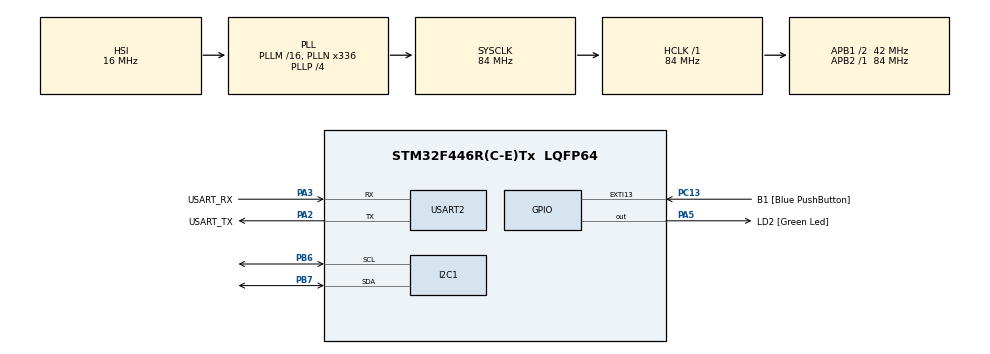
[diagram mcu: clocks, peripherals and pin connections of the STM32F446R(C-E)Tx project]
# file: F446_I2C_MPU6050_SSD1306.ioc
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I2C1.I2C_Mode=I2C_Fast
Mcu.Family=STM32F4
Mcu.Name=STM32F446R(C-E)Tx
Mcu.Package=LQFP64
NVIC.PriorityGroup=NVIC_PRIORITYGROUP_0
PA13.GPIO_Label=TMS
PA13.Mode=Serial_Wire
PA13.Signal=SYS_JTMS-SWDIO
PA14.GPIO_Label=TCK
PA14.Mode=Serial_Wire
PA14.Signal=SYS_JTCK-SWCLK
PA2.GPIO_Label=USART_TX
PA2.Mode=Asynchronous
PA2.Signal=USART2_TX
PA3.GPIO_Label=USART_RX
PA3.Mode=Asynchronous
PA3.Signal=USART2_RX
PA5.GPIO_Label=LD2 [Green Led]
PA5.Signal=GPIO_Output
PB3.GPIO_Label=SWO
PB3.Signal=SYS_JTDO-SWO
PB6.Mode=I2C
PB6.Signal=I2C1_SCL
PB7.Mode=I2C
PB7.Signal=I2C1_SDA
PC13.GPIO_Label=B1 [Blue PushButton]
PC13.GPIO_ModeDefaultEXTI=GPIO_MODE_IT_FALLING
PC13.Signal=GPXTI13
PC14-OSC32_IN.Mode=LSE-External-Oscillator
PC14-OSC32_IN.Signal=RCC_OSC32_IN
PC15-OSC32_OUT.Mode=LSE-External-Oscillator
PC15-OSC32_OUT.Signal=RCC_OSC32_OUT
PH0-OSC_IN.Mode=HSE-External-Oscillator
PH0-OSC_IN.Signal=RCC_OSC_IN
PH1-OSC_OUT.Mode=HSE-External-Oscillator
PH1-OSC_OUT.Signal=RCC_OSC_OUT
ProjectManager.HeapSize=0x200
ProjectManager.StackSize=0x400
ProjectManager.TargetToolchain=STM32CubeIDE
RCC.48MHZClocksFreq_Value=84000000
RCC.AHBFreq_Value=84000000
RCC.APB1CLKDivider=RCC_HCLK_DIV2
RCC.APB1Freq_Value=42000000
RCC.APB1TimFreq_Value=84000000
RCC.APB2Freq_Value=84000000
RCC.APB2TimFreq_Value=84000000
RCC.CortexFreq_Value=84000000
RCC.FLatency-AdvancedSettings=FLASH_LATENCY_2
RCC.HCLKFreq_Value=84000000
RCC.HSE_VALUE=8000000
RCC.HSI_VALUE=16000000
RCC.PLLN=336
RCC.PLLP=RCC_PLLP_DIV4
RCC.SYSCLKFreq_VALUE=84000000
RCC.SYSCLKSource=RCC_SYSCLKSOURCE_PLLCLK
RCC.USBFreq_Value=168000000
RCC.VCOOutputFreq_Value=336000000
USART2.VirtualMode=VM_ASYNC
board=NUCLEO-F446RE

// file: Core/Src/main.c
/* USER CODE BEGIN Header */
/**
  ******************************************************************************
  * @file           : main.c
  * @brief          : Main program body
  ******************************************************************************
  * @attention
  *
  * Copyright (c) 2025 STMicroelectronics.
  * All rights reserved.
  *
  * This software is licensed under terms that can be found in the LICENSE file
  * in the root directory of this software component.
  * If no LICENSE file comes with this software, it is provided AS-IS.
  *
  ******************************************************************************
  */
/* USER CODE END Header */
#include "main.h"

/* USER CODE BEGIN Includes */
#include "ssd1306.h"
/* USER CODE END Includes */

/* USER CODE BEGIN PD */
#define MPU6050_ADDR 0xD0
#define SMPLRT_DIV_REG 0x19
#define ACCEL_CONFIG_REG 0x1C
#define ACCEL_XOUT_H_REG 0x3B
#define TEMP_OUT_H_REG 0x41
#define PWR_MGMT_1_REG 0x6B
#define WHO_AM_I_REG 0x75
/* USER CODE END PD */

I2C_HandleTypeDef hi2c1;

UART_HandleTypeDef huart2;

/* USER CODE BEGIN PV */
int16_t Accel_X_RAW = 0;
int16_t Accel_Y_RAW = 0;
int16_t Accel_Z_RAW = 0;
float Ax, Ay, Az;
/* USER CODE END PV */

void SystemClock_Config(void);
static void MX_GPIO_Init(void);
static void MX_USART2_UART_Init(void);
static void MX_I2C1_Init(void);
/* USER CODE BEGIN PFP */
void MPU6050_Init (void);
void MPU6050_Read_Accel (void);
/* USER CODE END PFP */

int main(void)
{

  /* MCU Configuration--------------------------------------------------------*/

  /* Reset of all peripherals, Initializes the Flash interface and the Systick. */
  HAL_Init();

  /* Configure the system clock */
  SystemClock_Config();

  /* Initialize all configured peripherals */
  MX_GPIO_Init();
  MX_USART2_UART_Init();
  MX_I2C1_Init();
  /* USER CODE BEGIN 2 */
  //**************************** EXEMPLOS ************************************
   SSD1306_Init (); // Inicializa o display

   //Exemplo 1
   /*SSD1306_Clear();      //Seta todos os pixels do buffer para branco
   SSD1306_UpdateScreen();   //Flush do buffer para a tela*/

   //Exemplo 2
   // Abrir o WaveForms e hackear a última mensagem escrita pelo MASTER. Substituir os dados da PAG 7 de 0x00 para 0xFF
   /*
   var add = 0x3C;
   Write(add, 0x00, 0xB7);
   Write(add, 0x00, 0x00);
   Write(add, 0x00, 0x10);
   Write(add, 0x40, 0xFF, 0xFF, 0xFF, 0xFF, 0xFF, 0xFF, 0xFF, 0xFF, 0xFF, 0xFF, 0xFF, 0xFF, 0xFF, 0xFF, 0xFF, 0xFF, 0xFF, 0xFF, 0xFF, 0xFF, 0xFF, 0xFF, 0xFF, 0xFF, 0xFF, 0xFF, 0xFF, 0xFF, 0xFF, 0xFF, 0xFF, 0xFF, 0xFF, 0xFF, 0xFF, 0xFF, 0xFF, 0xFF, 0xFF, 0xFF, 0xFF, 0xFF, 0xFF, 0xFF, 0xFF, 0xFF, 0xFF, 0xFF, 0xFF, 0xFF, 0xFF, 0xFF, 0xFF, 0xFF, 0xFF, 0xFF, 0xFF, 0xFF, 0xFF, 0xFF, 0xFF, 0xFF, 0xFF, 0xFF, 0xFF, 0xFF, 0xFF, 0xFF, 0xFF, 0xFF, 0xFF, 0xFF, 0xFF, 0xFF, 0xFF, 0xFF, 0xFF, 0xFF, 0xFF, 0xFF, 0xFF, 0xFF, 0xFF, 0xFF, 0xFF, 0xFF, 0xFF, 0xFF, 0xFF, 0xFF, 0xFF, 0xFF, 0xFF, 0xFF, 0xFF, 0xFF, 0xFF, 0xFF, 0xFF, 0xFF, 0xFF, 0xFF, 0xFF, 0xFF, 0xFF, 0xFF, 0xFF, 0xFF, 0xFF, 0xFF, 0xFF, 0xFF, 0xFF, 0xFF, 0xFF, 0xFF, 0xFF, 0xFF, 0xFF, 0xFF, 0xFF, 0xFF, 0xFF, 0xFF, 0xFF, 0xFF, 0xFF, 0xFF);
   */

   //Exemplo 3
   // Fazer a mesma coisa anterior, com a PAG 5. Porém com as funções de escrita da HAL
   /*uint8_t dt[129];
   dt[0] = 0x00;  dt[1] = 0xB5;
   HAL_I2C_Master_Transmit(&hi2c1, 0x78, dt, 2, 10);
   dt[0] = 0x00;  dt[1] = 0x00;
   HAL_I2C_Master_Transmit(&hi2c1, 0x78, dt, 2, 10);
   dt[0] = 0x00;  dt[1] = 0x10;
   HAL_I2C_Master_Transmit(&hi2c1, 0x78, dt, 2, 10);
   dt[0] = 0x40;  dt[1] = 0xFF;
   for(uint8_t i = 1; i < 129; i++)
     dt[i+1] = dt[i];
   HAL_I2C_Master_Transmit(&hi2c1, 0x78, dt, 129, 10);*/

   //Exemple 4
   /*SSD1306_Clear();                //Seta todos os pixels do buffer para branco
   SSD1306_GotoXY (20,20);             //Posiciona o "cursor" no pixel 20x20
   SSD1306_Puts ("VIRTUS-CC", &Font_11x18, 1);   //Escreve o texto no buffer
   SSD1306_UpdateScreen();             //Flush do buffer para a tela*/

   //Exemplo 5
   /*
   // Leitura no WaveForms - MPU6050
   /*const adr = 0x68;

   var OK = Read(adr, 0x75, 1); //Ping
   Write(adr, 0x6B, 0x00); //Power mode =  wake up
   Write(adr, 0x19, 0x07); //Freq. de amostragem = 1kHz
   Write(adr, 0x1C, 0x00); //faiga de +-2g

   wait(0.1);

   var rg = Read(adr, 0x3B, 6); // DATA X Y Z

   var Ax = (rg[0] << 8 | rg[1]);
   var Ay = (rg[2] << 8 | rg[3]);
   var Az = (rg[4] << 8 | rg[5]);

   return [Ax,Ay,Az];*/

   //Exemplo 6
   //uma leitura do acelerômetro
   MPU6050_Init();
   MPU6050_Read_Accel();

   //Exemplo 7
   //Mostrar uma leitura do acelerômetro, no display
   char buffer_float[7];
   SSD1306_Clear();                //Seta todos os pixels do buffer para branco
   SSD1306_GotoXY (15,16);             //Posiciona o "cursor" no pixel correspondente
   SSD1306_Puts ("gX ", &Font_7x10, 1);  //Escreve o texto no buffer
   sprintf (buffer_float, "%.3f", Ax);
   SSD1306_Puts (buffer_float, &Font_7x10, 1);   //Escreve o texto no buffer
   SSD1306_GotoXY (15,30);             //Posiciona o "cursor" no pixel correspondente
   SSD1306_Puts ("gY ", &Font_7x10, 1);  //Escreve o texto no buffer
   sprintf (buffer_float, "%.3f", Ay);
   SSD1306_Puts (buffer_float, &Font_7x10, 1);   //Escreve o texto no buffer
   SSD1306_GotoXY (15,44);             //Posiciona o "cursor" no pixel correspondente
   SSD1306_Puts ("gZ ", &Font_7x10, 1);  //Escreve o texto no buffer
   sprintf (buffer_float, "%.3f", Az);
   SSD1306_Puts (buffer_float, &Font_7x10, 1);   //Escreve o texto no buffer
   SSD1306_UpdateScreen();             //Flush do buffer para a tela
  /* USER CODE END 2 */

  /* Infinite loop */
  while (1)
  {

  }
}

void SystemClock_Config(void)
{
  RCC_OscInitTypeDef RCC_OscInitStruct = {0};
  RCC_ClkInitTypeDef RCC_ClkInitStruct = {0};

  /** Configure the main internal regulator output voltage
  */
  __HAL_RCC_PWR_CLK_ENABLE();
  __HAL_PWR_VOLTAGESCALING_CONFIG(PWR_REGULATOR_VOLTAGE_SCALE3);

  /** Initializes the RCC Oscillators according to the specified parameters
  * in the RCC_OscInitTypeDef structure.
  */
  RCC_OscInitStruct.OscillatorType = RCC_OSCILLATORTYPE_HSI;
  RCC_OscInitStruct.HSIState = RCC_HSI_ON;
  RCC_OscInitStruct.HSICalibrationValue = RCC_HSICALIBRATION_DEFAULT;
  RCC_OscInitStruct.PLL.PLLState = RCC_PLL_ON;
  RCC_OscInitStruct.PLL.PLLSource = RCC_PLLSOURCE_HSI;
  RCC_OscInitStruct.PLL.PLLM = 16;
  RCC_OscInitStruct.PLL.PLLN = 336;
  RCC_OscInitStruct.PLL.PLLP = RCC_PLLP_DIV4;
  RCC_OscInitStruct.PLL.PLLQ = 2;
  RCC_OscInitStruct.PLL.PLLR = 2;
  if (HAL_RCC_OscConfig(&RCC_OscInitStruct) != HAL_OK)
  {
    Error_Handler();
  }

  /** Initializes the CPU, AHB and APB buses clocks
  */
  RCC_ClkInitStruct.ClockType = RCC_CLOCKTYPE_HCLK|RCC_CLOCKTYPE_SYSCLK
                              |RCC_CLOCKTYPE_PCLK1|RCC_CLOCKTYPE_PCLK2;
  RCC_ClkInitStruct.SYSCLKSource = RCC_SYSCLKSOURCE_PLLCLK;
  RCC_ClkInitStruct.AHBCLKDivider = RCC_SYSCLK_DIV1;
  RCC_ClkInitStruct.APB1CLKDivider = RCC_HCLK_DIV2;
  RCC_ClkInitStruct.APB2CLKDivider = RCC_HCLK_DIV1;

  if (HAL_RCC_ClockConfig(&RCC_ClkInitStruct, FLASH_LATENCY_2) != HAL_OK)
  {
    Error_Handler();
  }
}

static void MX_I2C1_Init(void)
{

  hi2c1.Instance = I2C1;
  hi2c1.Init.ClockSpeed = 400000;
  hi2c1.Init.DutyCycle = I2C_DUTYCYCLE_2;
  hi2c1.Init.OwnAddress1 = 0;
  hi2c1.Init.AddressingMode = I2C_ADDRESSINGMODE_7BIT;
  hi2c1.Init.DualAddressMode = I2C_DUALADDRESS_DISABLE;
  hi2c1.Init.OwnAddress2 = 0;
  hi2c1.Init.GeneralCallMode = I2C_GENERALCALL_DISABLE;
  hi2c1.Init.NoStretchMode = I2C_NOSTRETCH_DISABLE;
  if (HAL_I2C_Init(&hi2c1) != HAL_OK)
  {
    Error_Handler();
  }

}

static void MX_USART2_UART_Init(void)
{

  huart2.Instance = USART2;
  huart2.Init.BaudRate = 115200;
  huart2.Init.WordLength = UART_WORDLENGTH_8B;
  huart2.Init.StopBits = UART_STOPBITS_1;
  huart2.Init.Parity = UART_PARITY_NONE;
  huart2.Init.Mode = UART_MODE_TX_RX;
  huart2.Init.HwFlowCtl = UART_HWCONTROL_NONE;
  huart2.Init.OverSampling = UART_OVERSAMPLING_16;
  if (HAL_UART_Init(&huart2) != HAL_OK)
  {
    Error_Handler();
  }

}

static void MX_GPIO_Init(void)
{
  GPIO_InitTypeDef GPIO_InitStruct = {0};

  /* GPIO Ports Clock Enable */
  __HAL_RCC_GPIOC_CLK_ENABLE();
  __HAL_RCC_GPIOH_CLK_ENABLE();
  __HAL_RCC_GPIOA_CLK_ENABLE();
  __HAL_RCC_GPIOB_CLK_ENABLE();

  /*Configure GPIO pin Output Level */
  HAL_GPIO_WritePin(LD2_GPIO_Port, LD2_Pin, GPIO_PIN_RESET);

  /*Configure GPIO pin : B1_Pin */
  GPIO_InitStruct.Pin = B1_Pin;
  GPIO_InitStruct.Mode = GPIO_MODE_IT_FALLING;
  GPIO_InitStruct.Pull = GPIO_NOPULL;
  HAL_GPIO_Init(B1_GPIO_Port, &GPIO_InitStruct);

  /*Configure GPIO pin : LD2_Pin */
  GPIO_InitStruct.Pin = LD2_Pin;
  GPIO_InitStruct.Mode = GPIO_MODE_OUTPUT_PP;
  GPIO_InitStruct.Pull = GPIO_NOPULL;
  GPIO_InitStruct.Speed = GPIO_SPEED_FREQ_LOW;
  HAL_GPIO_Init(LD2_GPIO_Port, &GPIO_InitStruct);

}

/* USER CODE BEGIN 4 */
void MPU6050_Init (void)
{
  uint8_t check;
  uint8_t Data;

  // check device ID WHO_AM_I
  HAL_I2C_Mem_Read (&hi2c1, MPU6050_ADDR, 0x75, 1, &check, 1, 1000);
  if (check == 0x68)  // 0x68 will be returned by the sensor if everything goes well
  {
    // power management register 0X6B we should write all 0's to wake the sensor up
    Data = 0;
    HAL_I2C_Mem_Write(&hi2c1, MPU6050_ADDR, 0x6B, 1,&Data, 1, 1000);

    // Set DATA RATE of 1KHz by writing SMPLRT_DIV register
    Data = 0x07;
    HAL_I2C_Mem_Write(&hi2c1, MPU6050_ADDR, 0x19, 1, &Data, 1, 1000);

    // Set Gyroscopic configuration in GYRO_CONFIG Register
    Data = 0x00;  // XG_ST=0,YG_ST=0,ZG_ST=0, FS_SEL=0 -> ± 250 ̐/s
    HAL_I2C_Mem_Write(&hi2c1, MPU6050_ADDR, 0x1B, 1, &Data, 1, 1000);

    // Set accelerometer configuration in ACCEL_CONFIG Register
    Data = 0x00;  // XA_ST=0,YA_ST=0,ZA_ST=0, FS_SEL=0 -> ± 2g
    HAL_I2C_Mem_Write(&hi2c1, MPU6050_ADDR, 0x1C, 1, &Data, 1, 1000);
  }
}

void MPU6050_Read_Accel (void)
{
  uint8_t Rec_Data[6];

  // Read 6 BYTES of data starting from ACCEL_XOUT_H (0x3B) register
  HAL_I2C_Mem_Read (&hi2c1, MPU6050_ADDR, 0x3B, 1, Rec_Data, 6, 1000);

  Accel_X_RAW = (int16_t)(Rec_Data[0] << 8 | Rec_Data [1]);
  Accel_Y_RAW = (int16_t)(Rec_Data[2] << 8 | Rec_Data [3]);
  Accel_Z_RAW = (int16_t)(Rec_Data[4] << 8 | Rec_Data [5]);

  /*** convert the RAW values into acceleration in 'g'
       we have to divide according to the Full scale value set in FS_SEL
       I have configured FS_SEL = 0. So I am dividing by 16384.0
       for more details check ACCEL_CONFIG Register              ****/

  Ax = (float)Accel_X_RAW/16384.0;
  Ay = (float)Accel_Y_RAW/16384.0;
  Az = (float)Accel_Z_RAW/16384.0;
}
/* USER CODE END 4 */

void Error_Handler(void)
{
  __disable_irq();
  while (1)
  {
  }
}
